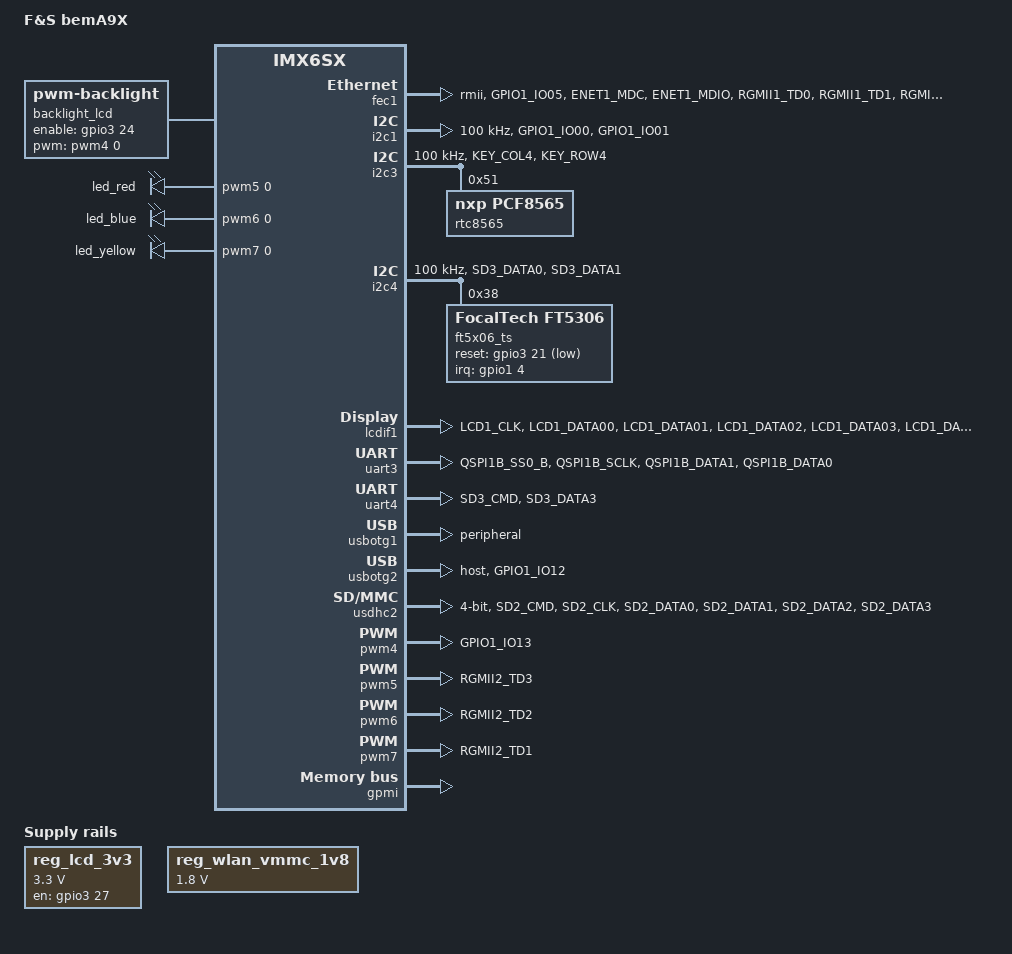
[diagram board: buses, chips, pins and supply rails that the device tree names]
/*
 * Copyright (C) 2015-2017 F&S Elektronik Systeme GmbH
 *
 * This program is free software; you can redistribute it and/or modify
 * it under the terms of the GNU General Public License version 2 as
 * published by the Free Software Foundation.
 */
#define CONFIG_EFUSA9X_CAPTOUCH_FT5x06

/* CMA: Set 64 MB for Continuous Memory Allocator */
#define CONFIG_BEMA9X_CMA_SIZE 0x4000000

/dts-v1/;

#include "imx6sx.dtsi"

/ {
	model = "F&S bemA9X";
	compatible = "fus,imx6sx-bema9x", "fsl,imx6sx";


	backlight_lcd {
		compatible = "pwm-backlight";
		pwms = <&pwm4 0 5000000>;
		brightness-levels = <0 1 5 10 18 28 41 56
				     73 92 113 137 163 192 222 255>;
		default-brightness-level = <14>;
		fb-names = "mxs-lcdif1";
		enable-gpios = <&gpio3 24 GPIO_ACTIVE_HIGH>;
	};

pwmleds {
	compatible = "pwm-leds";
	red {
		label = "led_red";
		pwms = <&pwm5 0 7812500>;
		max-brightness = <255>;
	};
	blue {
		label = "led_blue";
		pwms = <&pwm6 0 7812500>;
		max-brightness = <255>;
	};
	yellow{
		label = "led_yellow";
		pwms = <&pwm7 0 7812500>;
		max-brightness = <255>;
	};
};

#if 0
	memory {
		reg = <0x80000000 0x80000000>;
	};

	clocks {
		codec_osc: anaclk2 {
			#clock-cells = <0>;
			compatible = "fixed-clock";
			clock-frequency = <24576000>;
		};
	};

	pxp_v4l2_out {
		compatible = "fsl,imx6sx-pxp-v4l2", "fsl,imx6sl-pxp-v4l2";
		status = "okay";
	};
#endif

	regulators {
		compatible = "simple-bus";

		reg_lcd_3v3: lcd-3v3 {
			compatible = "regulator-fixed";
			regulator-name = "lcd-3v3";
			gpio = <&gpio3 27 GPIO_ACTIVE_HIGH>;
			regulator-min-microvolt = <3300000>;
			regulator-max-microvolt = <3300000>;
			enable-active-high;
		};

		reg_vref_3v3: regulator@0 {
//			compatible = "regulator-fixed";
			regulator-name = "vref-3v3";
			regulator-min-microvolt = <3300000>;
			regulator-max-microvolt = <3300000>;
		};


		reg_wlan_vmmc_1v8: regulator_wlan {
			compatible = "regulator-fixed";
			regulator-name = "vmmc-wlan-1v8";
			regulator-min-microvolt = <1800000>;
			regulator-max-microvolt = <1800000>;
			regulator-always-on;
		};

		/* USB_OTG1 only usable in device mode, no regulator needed */

		/* USB_OTG2_PWR done by USB controller, no regulator needed */
#if 0 //###
		reg_usb_otg2_vbus: usb_otg2_vbus {
			compatible = "regulator-fixed";
			regulator-name = "usb_otg2_vbus";
			regulator-min-microvolt = <5000000>;
			regulator-max-microvolt = <5000000>;
			gpio = <&gpio1 12 0>;
			enable-active-high;
		};
#endif //###
	};


	/* -------------------- BOARD INFO -------------------- */
	bdinfo {
		compatible = "bdinfo";
		board_name = "bema9x";
		ecc_strength = "8";
	};

};

/* RAM size for Continues Memory Allocator */
&cma {
	size = <CONFIG_BEMA9X_CMA_SIZE>;
};

&busfreq {
	/* Disable bus frequency scaling, because reducing bus frequency to
	   24 MHz does not work with all types of DDR3 RAM */
	disable-scaling;
};

&fec1 {
	pinctrl-names = "default";
	pinctrl-0 = <&pinctrl_enet1_1>;
	assigned-clocks = <&clks IMX6SX_CLK_ENET_REF>;
	assigned-clock-rates = <50000000>;
	phy-mode = "rmii";
	fsl,magic-packet;
	fsl,ref-clock-out;
	status = "okay";
};


/* I2C1 to connector J2 pins 30+31 */
&i2c1 {
	clock-frequency = <100000>;
	pinctrl-names = "default";
	pinctrl-0 = <&pinctrl_i2c1_1>;
	status = "okay";
};

/* I2C3 to RTC and SGTL5000 */
&i2c3 {
	clock-frequency = <100000>;
	pinctrl-names = "default";
	pinctrl-0 = <&pinctrl_i2c3_1>;
	status = "okay";

	rtc8565@51 {
		compatible = "nxp,pcf8565", "nxp,pcf8563";
		reg = <0x51>;
	};
};

/* I2C4 to connector J6 (touch) and connector J2 pins 32+33 */
&i2c4 {
	clock-frequency = <100000>;
	pinctrl-names = "default";
	pinctrl-0 = <&pinctrl_i2c4_1>;
	status = "okay";

#ifdef CONFIG_EFUSA9X_CAPTOUCH_FT5x06
	/* F&S driver V3.0 */
	ft5x06_ts@70 {
		compatible = "FocalTech,ft5306";
		reg = <0x38>;
		fingers = <2>;
		touchscreen-size-x = <640>;
		touchscreen-size-y = <480>;
		threshold = <25>;
		interrupt-parent = <&gpio1>;
		interrupts = <4 IRQ_TYPE_EDGE_FALLING>;
		reset-gpios = <&gpio3 21 GPIO_ACTIVE_LOW>;
		linux,wakeup;
	};
#endif

};

&lcdif1 {
	pinctrl-names = "default";
	pinctrl-0 = <&pinctrl_lcdif1_1>;	/* Remove when already active */
	display = <&display0>;			/* Remove when already active */
	lcd-supply = <&reg_lcd_3v3>;
	status = "okay";

	display0: lcd {
		bits-per-pixel = <32>;
		bus-width = <18>;
		display-timings {
			native-mode = <&timing0>;
			timing0: vga {
//				clock-frequency = <27000000>;
				clock-frequency = <25188000>;
				hactive = <640>;
				vactive = <480>;
				hfront-porch = <16>;
				hback-porch = <134>;
				hsync-len = <10>;
				vback-porch = <11>;
				vfront-porch = <32>;
				vsync-len = <2>;
				hsync-active = <0>;
				vsync-active = <0>;
				de-active = <1>;
				pixelclk-active = <1>;
			};
		};
	};
};


&uart3 {
	/* UART_A: TXD, RXD, RTS CTS, COM2 on SKIT */
	pinctrl-names = "default";
	pinctrl-0 = <&pinctrl_uart3_1>;
	fsl,uart-has-rtscts;
	status = "okay";
};

&uart4 {
	/* UART_B: TXD, RXD,  COM3 on SKIT */
	pinctrl-names = "default";
	pinctrl-0 = <&pinctrl_uart4_1>;
	fsl;
	status = "okay";
};

/* USB device */
&usbotg1 {
	dr_mode = "peripheral";
	status = "okay";
};


/* USB host */
&usbotg2 {
	pinctrl-names = "default";
	pinctrl-0 = <&pinctrl_usbotg2>;
//###	vbus-supply = <&reg_usb_otg2_vbus>;
	dr_mode = "host";
	pwr-active-high;
	disable-over-current;
	status = "okay";
};

#if 0
&usdhc1 {
	/* on-board WLAN */
	pinctrl-names = "default";
	pinctrl-0 = <&pinctrl_usdhc1_1>;
	bus-width = <4>;
	non-removable;
	keep-power-in-suspend;
	enable-sdio-wakeup;
	vmmc-supply = <&reg_wlan_vmmc_1v8>;
	status = "okay";
};
#endif

&usdhc2 {
	/* External normal sized SD clot on SKIT */
	pinctrl-names = "default";
	pinctrl-0 = <&pinctrl_usdhc2_1>;
	bus-width = <4>;
	keep-power-in-suspend;
	enable-sdio-wakeup;
	status = "okay";
};

/* backlight PWM */
&pwm4 {
	pinctrl-names = "default";
	pinctrl-0 = <&pinctrl_pwm4_0>;
	status = "okay";
};

/* PWM5 LED_RED_PWM */
&pwm5 {
	pinctrl-names = "default";
	pinctrl-0 = <&pinctrl_pwm5_0>;
	status = "okay";
};

/* PWM6 LED_BLUE_PWM */
&pwm6 {
	pinctrl-names = "default";
	pinctrl-0 = <&pinctrl_pwm6_0>;
	status = "okay";
};

/* PWM7 LED_YELLOW_PWM */
&pwm7 {
	pinctrl-names = "default";
	pinctrl-0 = <&pinctrl_pwm7_0>;
	status = "okay";
};


&dma_apbh {
	/* Switch to F&S implementation of APBH DMA driver for GPMI (NAND) */
	compatible = "fus,imx6sx-dma-apbh", "fus,imx28-dma-apbh";
	iram = <&ocram>;
};

&gpmi {
	/* Switch to F&S implementation of GPMI NAND driver */
	compatible = "fus,imx6sx-gpmi-nand";
	pinctrl-names = "default";
	fus,skipblocks = <2>;
	fus,chunk1k;
	fus,ecc_strength = <8>;		/* Spare area 64 bytes */
//###	fus,ecc_strength = <52>;	/* Spare area 224 bytes */
	status = "okay";
};

&iomuxc {
	pinctrl-names = "default";
	pinctrl-0 = <&pinctrl_hog>;

 	imx6x-bema9x {

		pinctrl_hog: hoggrp {
			fsl,pins = <
				/* VBL_ON active low */
				MX6SX_PAD_LCD1_DATA23__GPIO3_IO_24	0x80000000

				/* VLCD_ON active low */
				MX6SX_PAD_LCD1_RESET__GPIO3_IO_27	0x80000000

				/* LED_YELLOW_PWM_ON */
				MX6SX_PAD_RGMII2_TD0__GPIO5_IO_18	0x1b0b1

				/* BootGPIO */
				MX6SX_PAD_GPIO1_IO09__GPIO1_IO_9	0x1b0b1

				/* TOUCH RESET */
				MX6SX_PAD_LCD1_DATA19__GPIO3_IO_20	0x1b0b1

				/* TOUCH INTERUPT*/
				MX6SX_PAD_GPIO1_IO04__GPIO1_IO_4	0x1b0b1

				/* INT_BUTTONC */
				MX6SX_PAD_LCD1_DATA20__GPIO3_IO_21	0x1b0b1

				/* DVS */
				MX6SX_PAD_QSPI1B_DQS__GPIO4_IO_28	0x1b0b1
			>;
		};


		pinctrl_enet1_1: enet1grp-1 {
			fsl,pins = <
				/* gpio to reset phy, activated in uboot */
//				MX6SX_PAD_ENET2_CRS__GPIO2_IO_7		0x0a0b1
				/* 50MHz base clock from CPU to PHY */
				MX6SX_PAD_GPIO1_IO05__ENET1_REF_CLK1	0x400000a1
				/* MDIO */
				MX6SX_PAD_ENET1_MDC__ENET1_MDC		0x0a0b1
				MX6SX_PAD_ENET1_MDIO__ENET1_MDIO	0x0a0b1
				/* fec1 */
				MX6SX_PAD_RGMII1_TD0__ENET1_TX_DATA_0	0x0a0b1
				MX6SX_PAD_RGMII1_TD1__ENET1_TX_DATA_1	0x0a0b1
				MX6SX_PAD_RGMII1_TX_CTL__ENET1_TX_EN	0x0a0b1
				MX6SX_PAD_RGMII1_RXC__ENET1_RX_ER	0x03081
				MX6SX_PAD_RGMII1_RD0__ENET1_RX_DATA_0	0x03081
				MX6SX_PAD_RGMII1_RD1__ENET1_RX_DATA_1	0x03081
				MX6SX_PAD_RGMII1_RX_CTL__ENET1_RX_EN	0x03081
			>;
		};

		/* Display LCD1 missing signals yet:
			LCD1_DATA19 -> resetoutn,
			LCD1_DATA20 -> int_buttonc, */
		pinctrl_lcdif1_1: lcd1grp-1 {
			fsl,pins = <
				MX6SX_PAD_LCD1_CLK__LCDIF1_CLK		0x000b0
				MX6SX_PAD_LCD1_DATA00__LCDIF1_DATA_0	0x000b0
				MX6SX_PAD_LCD1_DATA01__LCDIF1_DATA_1	0x000b0
				MX6SX_PAD_LCD1_DATA02__LCDIF1_DATA_2	0x000b0
				MX6SX_PAD_LCD1_DATA03__LCDIF1_DATA_3	0x000b0
				MX6SX_PAD_LCD1_DATA04__LCDIF1_DATA_4	0x000b0
				MX6SX_PAD_LCD1_DATA05__LCDIF1_DATA_5	0x000b0
				MX6SX_PAD_LCD1_DATA06__LCDIF1_DATA_6	0x000b0
				MX6SX_PAD_LCD1_DATA07__LCDIF1_DATA_7	0x000b0
				MX6SX_PAD_LCD1_DATA08__LCDIF1_DATA_8	0x000b0
				MX6SX_PAD_LCD1_DATA09__LCDIF1_DATA_9	0x000b0
				MX6SX_PAD_LCD1_DATA10__LCDIF1_DATA_10	0x000b0
				MX6SX_PAD_LCD1_DATA11__LCDIF1_DATA_11	0x000b0
				MX6SX_PAD_LCD1_DATA12__LCDIF1_DATA_12	0x000b0
				MX6SX_PAD_LCD1_DATA13__LCDIF1_DATA_13	0x000b0
				MX6SX_PAD_LCD1_DATA14__LCDIF1_DATA_14	0x000b0
				MX6SX_PAD_LCD1_DATA15__LCDIF1_DATA_15	0x000b0
				MX6SX_PAD_LCD1_DATA16__LCDIF1_DATA_16	0x000b0
				MX6SX_PAD_LCD1_DATA17__LCDIF1_DATA_17	0x000b0
				MX6SX_PAD_LCD1_ENABLE__LCDIF1_ENABLE	0x000b0
				MX6SX_PAD_LCD1_HSYNC__LCDIF1_HSYNC	0x000b0
				MX6SX_PAD_LCD1_VSYNC__LCDIF1_VSYNC	0x000b0
			>;
		};


		pinctrl_uart3_1: uart3grp-1 {
			fsl,pins = <
				MX6SX_PAD_QSPI1B_SS0_B__UART3_TX	0x1b0b1
				MX6SX_PAD_QSPI1B_SCLK__UART3_RX		0x1b0b1
				MX6SX_PAD_QSPI1B_DATA1__UART3_RTS_B	0x1b0b1
				MX6SX_PAD_QSPI1B_DATA0__UART3_CTS_B	0x1b0b1
			>;
		};

		/* RTSA/CTSA are not available on the connector */
		pinctrl_uart4_1: uart4grp-1 {
			fsl,pins = <
				MX6SX_PAD_SD3_CMD__UART4_TX		0x1b0b1
				MX6SX_PAD_SD3_DATA3__UART4_RX		0x1b0b1
			>;
		};


		pinctrl_pwm4_0: pwm4grp-0 {
			fsl,pins = <
				MX6SX_PAD_GPIO1_IO13__PWM4_OUT		0x110b0
			>;
		};

		pinctrl_pwm5_0: pwm5grp-0 {
			fsl,pins = <
				MX6SX_PAD_RGMII2_TD3__PWM5_OUT		0x110b0
			>;
		};

		pinctrl_pwm6_0: pwm6grp-0 {
			fsl,pins = <
				MX6SX_PAD_RGMII2_TD2__PWM6_OUT		0x110b0
			>;
		};

		pinctrl_pwm7_0: pwm7grp-0 {
			fsl,pins = <
				MX6SX_PAD_RGMII2_TD1__PWM7_OUT		0x110b0
			>;
		};


		pinctrl_usbotg2: usbotg2grp {
			fsl,pins = <
				/* USB_OTG2_PWR, active high */
//###				MX6SX_PAD_GPIO1_IO12__GPIO1_IO_12	0x03030
				MX6SX_PAD_GPIO1_IO12__USB_OTG2_PWR	0x03030
			>;
		};

#if 0
		/* on-board WLAN */
		pinctrl_usdhc1_1: usdhc1grp-1 {
			fsl,pins = <
				MX6SX_PAD_SD4_CMD__USDHC4_CMD		0x17071
				MX6SX_PAD_SD4_CLK__USDHC4_CLK		0x10071
				MX6SX_PAD_SD4_DATA0__USDHC4_DATA0	0x17071
				MX6SX_PAD_SD4_DATA1__USDHC4_DATA1	0x17071
				MX6SX_PAD_SD4_DATA2__USDHC4_DATA2	0x17071
				MX6SX_PAD_SD4_DATA3__USDHC4_DATA3	0x17071
				/* Wlan enable */
				MX6SX_PAD_RGMII2_TXC__GPIO5_IO_23	0x80000000
				/* irq */
				MX6SX_PAD_SD4_RESET_B__GPIO6_IO_22	0x80000000
			>;
		};
#endif

		/* SD card */
		pinctrl_usdhc2_1: usdhc2grp-1 {
			fsl,pins = <
				MX6SX_PAD_SD2_CMD__USDHC2_CMD		0x17071
				MX6SX_PAD_SD2_CLK__USDHC2_CLK		0x10071
				MX6SX_PAD_SD2_DATA0__USDHC2_DATA0	0x17071
				MX6SX_PAD_SD2_DATA1__USDHC2_DATA1	0x17071
				MX6SX_PAD_SD2_DATA2__USDHC2_DATA2	0x17071
				MX6SX_PAD_SD2_DATA3__USDHC2_DATA3	0x17071
			>;
		};

		pinctrl_i2c1_1: i2c1grp-1 {
			fsl,pins = <
				MX6SX_PAD_GPIO1_IO00__I2C1_SCL		0x4001b8b1
				MX6SX_PAD_GPIO1_IO01__I2C1_SDA		0x4001b8b1
			>;
		};

		pinctrl_i2c3_1: i2c3grp-1 {
			fsl,pins = <
				MX6SX_PAD_KEY_COL4__I2C3_SCL		0x4001b8b1
				MX6SX_PAD_KEY_ROW4__I2C3_SDA		0x4001b8b1
			>;
		};

		pinctrl_i2c4_1: i2c4grp-1 {
			fsl,pins = <
				MX6SX_PAD_SD3_DATA0__I2C4_SCL		0x4001b8b1
				MX6SX_PAD_SD3_DATA1__I2C4_SDA		0x4001b8b1
			>;
		};

	};
};
